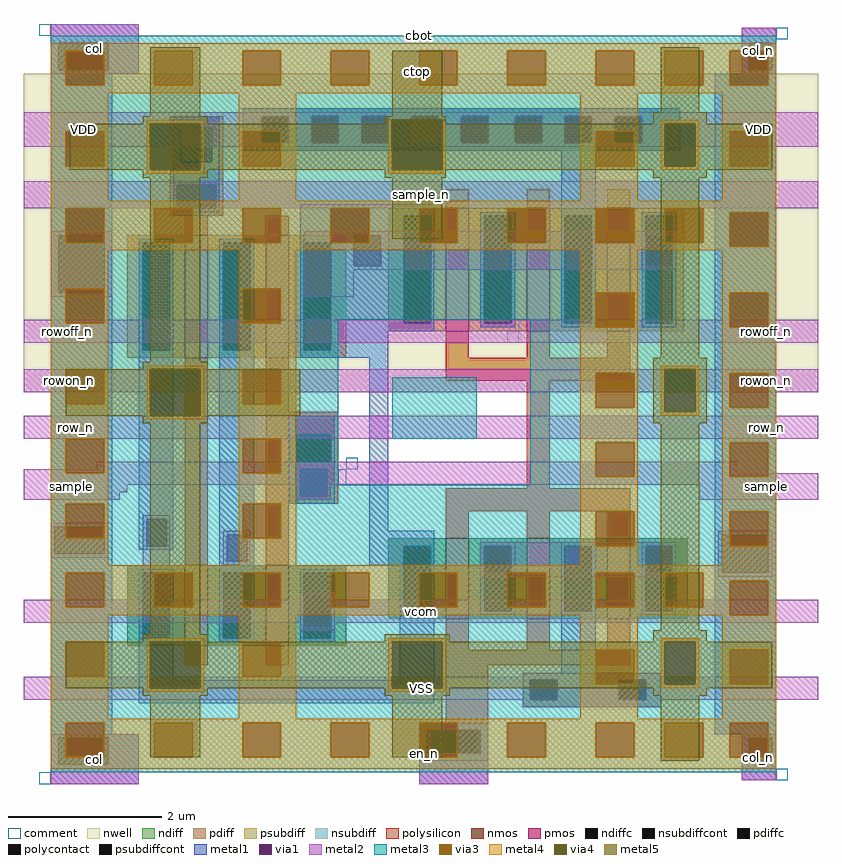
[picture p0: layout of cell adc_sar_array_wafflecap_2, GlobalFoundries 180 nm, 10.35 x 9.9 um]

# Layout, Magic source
magic
tech gf180mcuD
magscale 1 5
<< nwell >>
rect 1500 510 2535 925
<< nmos >>
rect 1710 180 1740 285
rect 1815 180 1845 285
rect 2050 215 2080 320
rect 2155 215 2185 320
rect 2260 215 2290 320
<< pmos >>
rect 1710 555 1740 715
rect 1815 555 1845 715
rect 2050 590 2080 750
rect 2155 590 2185 750
rect 2260 590 2290 750
<< ndiff >>
rect 1975 310 2050 320
rect 1635 275 1710 285
rect 1635 190 1655 275
rect 1690 190 1710 275
rect 1635 180 1710 190
rect 1740 275 1815 285
rect 1740 190 1760 275
rect 1795 190 1815 275
rect 1740 180 1815 190
rect 1845 275 1920 285
rect 1845 190 1865 275
rect 1900 190 1920 275
rect 1975 225 1995 310
rect 2030 225 2050 310
rect 1975 215 2050 225
rect 2080 310 2155 320
rect 2080 225 2100 310
rect 2135 225 2155 310
rect 2080 215 2155 225
rect 2185 310 2260 320
rect 2185 225 2205 310
rect 2240 225 2260 310
rect 2185 215 2260 225
rect 2290 310 2365 320
rect 2290 225 2310 310
rect 2345 225 2365 310
rect 2290 215 2365 225
rect 1845 180 1920 190
<< pdiff >>
rect 1975 740 2050 750
rect 1635 705 1710 715
rect 1635 565 1655 705
rect 1690 565 1710 705
rect 1635 555 1710 565
rect 1740 705 1815 715
rect 1740 565 1760 705
rect 1795 565 1815 705
rect 1740 555 1815 565
rect 1845 705 1920 715
rect 1845 565 1865 705
rect 1900 565 1920 705
rect 1975 600 1995 740
rect 2030 600 2050 740
rect 1975 590 2050 600
rect 2080 740 2155 750
rect 2080 600 2100 740
rect 2135 600 2155 740
rect 2080 590 2155 600
rect 2185 740 2260 750
rect 2185 600 2205 740
rect 2240 600 2260 740
rect 2185 590 2260 600
rect 2290 740 2360 750
rect 2290 600 2310 740
rect 2345 600 2360 740
rect 2290 590 2360 600
rect 1845 555 1920 565
<< ndiffc >>
rect 1655 190 1690 275
rect 1760 190 1795 275
rect 1865 190 1900 275
rect 1995 225 2030 310
rect 2100 225 2135 310
rect 2205 225 2240 310
rect 2310 225 2345 310
<< pdiffc >>
rect 1655 565 1690 705
rect 1760 565 1795 705
rect 1865 565 1900 705
rect 1995 600 2030 740
rect 2100 600 2135 740
rect 2205 600 2240 740
rect 2310 600 2345 740
<< psubdiff >>
rect 2150 135 2330 145
rect 2150 110 2160 135
rect 2195 110 2275 135
rect 2310 110 2330 135
rect 2150 100 2330 110
<< nsubdiff >>
rect 1785 870 2355 880
rect 1785 835 1810 870
rect 1845 835 1875 870
rect 1910 835 1940 870
rect 1975 835 2005 870
rect 2040 835 2070 870
rect 2105 835 2140 870
rect 2175 835 2205 870
rect 2240 835 2270 870
rect 2305 835 2355 870
rect 1785 825 2355 835
<< psubdiffcont >>
rect 2160 110 2195 135
rect 2275 110 2310 135
<< nsubdiffcont >>
rect 1810 835 1845 870
rect 1875 835 1910 870
rect 1940 835 1975 870
rect 2005 835 2040 870
rect 2070 835 2105 870
rect 2140 835 2175 870
rect 2205 835 2240 870
rect 2270 835 2305 870
<< polysilicon >>
rect 1690 855 1760 870
rect 1690 810 1705 855
rect 1745 810 1760 855
rect 1690 740 1760 810
rect 2050 750 2080 775
rect 2155 750 2185 775
rect 2260 750 2290 775
rect 1710 715 1740 740
rect 1815 715 1845 740
rect 2050 555 2080 590
rect 2155 555 2185 590
rect 2260 555 2290 590
rect 1710 285 1740 555
rect 1815 485 1845 555
rect 2050 525 2290 555
rect 1815 455 1910 485
rect 1815 420 1855 455
rect 1900 420 1910 455
rect 1815 365 1910 420
rect 2155 385 2185 525
rect 1815 285 1845 365
rect 2050 355 2290 385
rect 2050 320 2080 355
rect 2155 320 2185 355
rect 2260 320 2290 355
rect 1710 155 1740 180
rect 1815 155 1845 180
rect 2050 175 2080 215
rect 2155 175 2185 215
rect 2260 175 2290 215
rect 2050 155 2290 175
rect 2050 80 2105 155
rect 2015 70 2105 80
rect 2015 40 2025 70
rect 2095 40 2105 70
rect 2015 30 2105 40
<< polycontact >>
rect 1705 810 1745 855
rect 1855 420 1900 455
rect 2025 40 2095 70
<< metal1 >>
rect 1535 965 1650 990
rect 1535 930 1545 965
rect 1610 930 1650 965
rect 1535 925 1650 930
rect 2435 965 2480 985
rect 2435 930 2445 965
rect 2475 930 2480 965
rect 2435 925 2480 930
rect 1535 715 1615 925
rect 1785 870 2355 880
rect 1695 855 1755 870
rect 1695 810 1705 855
rect 1745 810 1755 855
rect 1785 835 1810 870
rect 1845 835 1875 870
rect 1910 835 1940 870
rect 1975 835 2005 870
rect 2040 835 2070 870
rect 2105 835 2140 870
rect 2175 835 2205 870
rect 2240 835 2270 870
rect 2305 835 2355 870
rect 1785 825 2355 835
rect 1695 780 1755 810
rect 1695 750 1700 780
rect 1750 750 1755 780
rect 1695 740 1755 750
rect 1860 740 2035 755
rect 1535 640 1545 715
rect 1605 640 1615 715
rect 1860 715 1995 740
rect 1535 335 1615 640
rect 1535 300 1540 335
rect 1605 300 1615 335
rect 1650 705 1695 710
rect 1650 565 1655 705
rect 1690 565 1695 705
rect 1650 345 1695 565
rect 1650 310 1660 345
rect 1686 310 1695 345
rect 1650 305 1695 310
rect 1755 705 1800 710
rect 1755 565 1760 705
rect 1795 565 1800 705
rect 1755 325 1800 565
rect 1860 705 1930 715
rect 1860 565 1865 705
rect 1900 675 1930 705
rect 1965 675 1995 715
rect 1900 600 1995 675
rect 2030 600 2035 740
rect 1900 590 2035 600
rect 2095 740 2140 745
rect 2095 600 2100 740
rect 2135 600 2140 740
rect 2095 595 2140 600
rect 2200 740 2245 825
rect 2200 600 2205 740
rect 2240 600 2245 740
rect 2200 595 2245 600
rect 2305 740 2350 745
rect 2305 600 2310 740
rect 2345 600 2350 740
rect 2305 595 2350 600
rect 1900 565 1975 590
rect 1860 555 1975 565
rect 1845 455 1905 480
rect 1845 420 1855 455
rect 1900 420 1905 455
rect 1845 410 1905 420
rect 1845 375 1860 410
rect 1895 375 1905 410
rect 1845 365 1905 375
rect 1535 65 1615 300
rect 1755 290 1765 325
rect 1791 290 1800 325
rect 1650 275 1695 280
rect 1650 190 1655 275
rect 1690 190 1695 275
rect 1650 135 1695 190
rect 1755 275 1800 290
rect 1950 330 1975 555
rect 1950 310 2035 330
rect 2400 325 2480 925
rect 1950 285 1995 310
rect 1755 190 1760 275
rect 1795 190 1800 275
rect 1755 185 1800 190
rect 1860 275 1905 280
rect 1860 190 1865 275
rect 1900 190 1905 275
rect 1860 185 1905 190
rect 1990 225 1995 285
rect 2030 225 2035 310
rect 1990 135 2035 225
rect 2095 310 2140 315
rect 2095 225 2100 310
rect 2135 225 2140 310
rect 2095 220 2140 225
rect 2200 310 2245 315
rect 2200 225 2205 310
rect 2240 225 2245 310
rect 2200 145 2245 225
rect 2305 310 2350 315
rect 2305 225 2310 310
rect 2345 225 2350 310
rect 2305 220 2350 225
rect 2400 275 2410 325
rect 2470 275 2480 325
rect 1650 105 2035 135
rect 2150 136 2330 145
rect 2150 110 2160 136
rect 2195 110 2275 136
rect 2310 110 2330 136
rect 2150 100 2330 110
rect 2015 70 2105 80
rect 1535 60 1650 65
rect 1535 25 1545 60
rect 1610 25 1650 60
rect 1535 0 1650 25
rect 2015 40 2025 70
rect 2095 40 2105 70
rect 2400 65 2480 275
rect 2015 0 2105 40
rect 2435 60 2480 65
rect 2435 30 2445 60
rect 2475 30 2480 60
rect 2435 5 2480 30
<< via1 >>
rect 1545 930 1610 965
rect 2445 930 2475 965
rect 1810 835 1845 870
rect 1875 835 1910 870
rect 1940 835 1975 870
rect 2005 835 2040 870
rect 2070 835 2105 870
rect 2140 835 2175 870
rect 2205 835 2240 870
rect 2270 835 2305 870
rect 1700 750 1750 780
rect 1545 640 1605 715
rect 1540 300 1605 335
rect 1660 310 1686 345
rect 1930 675 1965 715
rect 2310 675 2345 715
rect 1860 375 1895 410
rect 1765 290 1791 325
rect 1865 205 1900 245
rect 2100 275 2135 310
rect 2310 275 2345 310
rect 2410 275 2470 325
rect 2160 135 2195 136
rect 2160 110 2195 135
rect 2275 135 2310 136
rect 2275 110 2310 135
rect 1545 25 1610 60
rect 2030 40 2090 70
rect 2445 30 2475 60
<< metal2 >>
rect 1535 965 1650 990
rect 1535 930 1545 965
rect 1610 930 1650 965
rect 1535 925 1650 930
rect 2435 965 2480 985
rect 2435 930 2445 965
rect 2475 930 2480 965
rect 2435 925 2480 930
rect 1500 870 2535 875
rect 1500 835 1810 870
rect 1845 835 1875 870
rect 1910 835 1940 870
rect 1975 835 2005 870
rect 2040 835 2070 870
rect 2105 835 2140 870
rect 2175 835 2205 870
rect 2240 835 2270 870
rect 2305 835 2535 870
rect 1500 830 2535 835
rect 1500 780 2535 785
rect 1500 750 1700 780
rect 1750 750 2535 780
rect 1695 745 1755 750
rect 1535 715 1615 720
rect 1535 640 1545 715
rect 1605 640 1615 715
rect 1535 635 1615 640
rect 1865 715 2350 720
rect 1865 675 1930 715
rect 1965 675 2310 715
rect 2345 675 2350 715
rect 1865 670 2350 675
rect 1865 635 1930 670
rect 1500 575 2535 605
rect 1500 510 2535 540
rect 1500 450 2535 480
rect 1615 410 2400 420
rect 1615 405 1860 410
rect 1500 390 1860 405
rect 1500 370 1625 390
rect 1855 375 1860 390
rect 1895 405 2400 410
rect 1895 390 2535 405
rect 1895 375 1900 390
rect 1855 370 1900 375
rect 2380 370 2535 390
rect 1655 345 1690 350
rect 1535 335 1610 340
rect 1535 300 1540 335
rect 1605 300 1610 335
rect 1535 295 1610 300
rect 1655 310 1660 345
rect 1686 310 1690 345
rect 1655 240 1690 310
rect 1760 325 1795 330
rect 1760 290 1765 325
rect 1791 290 1795 325
rect 2405 325 2475 330
rect 1760 285 1795 290
rect 2095 310 2350 315
rect 2095 275 2100 310
rect 2135 275 2310 310
rect 2345 275 2350 310
rect 2095 270 2350 275
rect 2405 275 2410 325
rect 2470 275 2475 325
rect 2405 270 2475 275
rect 1860 245 1905 250
rect 1860 240 1865 245
rect 1500 210 1865 240
rect 1860 205 1865 210
rect 1900 240 1905 245
rect 1900 210 2535 240
rect 1900 205 1905 210
rect 1860 200 1905 205
rect 2150 140 2330 145
rect 1500 136 2535 140
rect 1500 110 2160 136
rect 2195 110 2275 136
rect 2310 110 2535 136
rect 2150 100 2330 110
rect 2015 70 2105 80
rect 1535 60 1650 65
rect 1535 25 1545 60
rect 1610 25 1650 60
rect 1535 0 1650 25
rect 2015 40 2030 70
rect 2090 40 2105 70
rect 2015 0 2105 40
rect 2435 60 2480 65
rect 2435 30 2445 60
rect 2475 30 2480 60
rect 2435 5 2480 30
<< metal3 >>
rect 1535 955 2480 975
rect 1535 910 1555 955
rect 1605 910 1670 955
rect 1720 910 1785 955
rect 1835 910 1900 955
rect 1950 910 2015 955
rect 2065 910 2130 955
rect 2180 910 2245 955
rect 2295 910 2335 955
rect 2385 910 2420 955
rect 2470 910 2480 955
rect 1535 850 2480 910
rect 1535 805 1555 850
rect 1605 805 1785 850
rect 1835 805 2245 850
rect 2295 805 2420 850
rect 2470 805 2480 850
rect 1535 750 2480 805
rect 1535 705 1555 750
rect 1605 705 1670 750
rect 1720 705 1785 750
rect 1835 705 1900 750
rect 1950 705 2015 750
rect 2065 705 2130 750
rect 2180 705 2245 750
rect 2295 705 2335 750
rect 2385 745 2480 750
rect 2385 705 2420 745
rect 1535 700 2420 705
rect 2470 700 2480 745
rect 1535 645 2480 700
rect 1535 600 1555 645
rect 1605 600 1785 645
rect 1835 640 2480 645
rect 1835 605 2245 640
rect 1835 600 1910 605
rect 1535 540 1910 600
rect 1535 495 1555 540
rect 1605 495 1785 540
rect 1835 495 1910 540
rect 2160 595 2245 605
rect 2295 595 2420 640
rect 2470 595 2480 640
rect 2160 535 2480 595
rect 1535 450 1910 495
rect 1980 450 2090 530
rect 2160 490 2245 535
rect 2295 490 2420 535
rect 2470 490 2480 535
rect 1535 405 1555 450
rect 1605 405 1785 450
rect 1835 405 1910 450
rect 1535 390 1910 405
rect 2160 445 2480 490
rect 2160 400 2245 445
rect 2295 400 2420 445
rect 2470 400 2480 445
rect 2160 390 2480 400
rect 1535 365 2480 390
rect 1535 320 1555 365
rect 1605 320 1785 365
rect 1835 355 2480 365
rect 1835 320 2245 355
rect 1535 310 2245 320
rect 2295 310 2420 355
rect 2470 310 2480 355
rect 1535 275 2480 310
rect 1535 230 1555 275
rect 1605 230 1670 275
rect 1720 230 1785 275
rect 1835 230 1900 275
rect 1950 230 2015 275
rect 2065 230 2130 275
rect 2180 230 2245 275
rect 2295 230 2335 275
rect 2385 265 2480 275
rect 2385 230 2420 265
rect 1535 220 2420 230
rect 2470 220 2480 265
rect 1535 185 2480 220
rect 1535 140 1555 185
rect 1605 140 1785 185
rect 1835 175 2480 185
rect 1835 140 2245 175
rect 1535 130 2245 140
rect 2295 130 2420 175
rect 2470 130 2480 175
rect 1535 80 2480 130
rect 1535 35 1555 80
rect 1605 35 1670 80
rect 1720 35 1785 80
rect 1835 35 1900 80
rect 1950 35 2015 80
rect 2065 35 2130 80
rect 2180 35 2245 80
rect 2295 35 2335 80
rect 2385 35 2420 80
rect 2470 35 2480 80
rect 1535 15 2480 35
<< via3 >>
rect 1555 910 1605 955
rect 1670 910 1720 955
rect 1785 910 1835 955
rect 1900 910 1950 955
rect 2015 910 2065 955
rect 2130 910 2180 955
rect 2245 910 2295 955
rect 2335 910 2385 955
rect 2420 910 2470 955
rect 1555 805 1605 850
rect 1785 805 1835 850
rect 2245 805 2295 850
rect 2420 805 2470 850
rect 1555 705 1605 750
rect 1670 705 1720 750
rect 1785 705 1835 750
rect 1900 705 1950 750
rect 2015 705 2065 750
rect 2130 705 2180 750
rect 2245 705 2295 750
rect 2335 705 2385 750
rect 2420 700 2470 745
rect 1555 600 1605 645
rect 1785 600 1835 645
rect 1555 495 1605 540
rect 1785 495 1835 540
rect 2245 595 2295 640
rect 2420 595 2470 640
rect 2245 490 2295 535
rect 2420 490 2470 535
rect 1555 405 1605 450
rect 1785 405 1835 450
rect 2245 400 2295 445
rect 2420 400 2470 445
rect 1555 320 1605 365
rect 1785 320 1835 365
rect 2245 310 2295 355
rect 2420 310 2470 355
rect 1555 230 1605 275
rect 1670 230 1720 275
rect 1785 230 1835 275
rect 1900 230 1950 275
rect 2015 230 2065 275
rect 2130 230 2180 275
rect 2245 230 2295 275
rect 2335 230 2385 275
rect 2420 220 2470 265
rect 1555 140 1605 185
rect 1785 140 1835 185
rect 2245 130 2295 175
rect 2420 130 2470 175
rect 1555 35 1605 80
rect 1670 35 1720 80
rect 1785 35 1835 80
rect 1900 35 1950 80
rect 2015 35 2065 80
rect 2130 35 2180 80
rect 2245 35 2295 80
rect 2335 35 2385 80
rect 2420 35 2470 80
<< metal4 >>
rect 1535 955 2480 965
rect 1535 910 1555 955
rect 1605 910 1670 955
rect 1720 910 1785 955
rect 1835 910 1900 955
rect 1950 910 2015 955
rect 2065 910 2130 955
rect 2180 910 2245 955
rect 2295 910 2335 955
rect 2385 910 2420 955
rect 2470 910 2480 955
rect 1535 900 2480 910
rect 1535 850 1610 900
rect 1535 805 1555 850
rect 1605 805 1610 850
rect 1535 760 1610 805
rect 1660 860 1735 865
rect 1660 800 1665 860
rect 1730 800 1735 860
rect 1660 795 1735 800
rect 1780 850 1855 900
rect 1780 805 1785 850
rect 1835 805 1855 850
rect 1780 760 1855 805
rect 1975 800 1980 865
rect 2045 800 2050 865
rect 1975 795 2050 800
rect 2225 850 2300 900
rect 2225 805 2245 850
rect 2295 805 2300 850
rect 2225 760 2300 805
rect 2330 860 2380 865
rect 2330 805 2335 860
rect 2375 805 2380 860
rect 2330 800 2380 805
rect 2410 850 2480 900
rect 2410 805 2420 850
rect 2470 805 2480 850
rect 2410 760 2480 805
rect 1535 750 2480 760
rect 1535 705 1555 750
rect 1605 705 1670 750
rect 1720 705 1785 750
rect 1835 705 1900 750
rect 1950 705 2015 750
rect 2065 705 2130 750
rect 2180 705 2245 750
rect 2295 705 2335 750
rect 2385 745 2480 750
rect 2385 705 2420 745
rect 1535 700 2420 705
rect 2470 700 2480 745
rect 1535 695 2480 700
rect 1535 645 1610 695
rect 1535 600 1555 645
rect 1605 600 1610 645
rect 1535 540 1610 600
rect 1780 645 1855 695
rect 1780 600 1785 645
rect 1835 600 1855 645
rect 1535 495 1555 540
rect 1605 495 1610 540
rect 1535 450 1610 495
rect 1660 540 1735 545
rect 1660 480 1665 540
rect 1730 480 1735 540
rect 1660 475 1735 480
rect 1780 540 1855 600
rect 1780 495 1785 540
rect 1835 495 1855 540
rect 1535 405 1555 450
rect 1605 405 1610 450
rect 1535 365 1610 405
rect 1535 320 1555 365
rect 1605 320 1610 365
rect 1535 285 1610 320
rect 1780 450 1855 495
rect 1780 405 1785 450
rect 1835 405 1855 450
rect 1780 365 1855 405
rect 1780 320 1785 365
rect 1835 320 1855 365
rect 1780 285 1855 320
rect 2225 640 2300 695
rect 2225 595 2245 640
rect 2295 595 2300 640
rect 2225 535 2300 595
rect 2410 640 2480 695
rect 2410 595 2420 640
rect 2470 595 2480 640
rect 2225 490 2245 535
rect 2295 490 2300 535
rect 2225 445 2300 490
rect 2330 540 2380 545
rect 2330 485 2335 540
rect 2375 485 2380 540
rect 2330 480 2380 485
rect 2410 535 2480 595
rect 2410 490 2420 535
rect 2470 490 2480 535
rect 2225 400 2245 445
rect 2295 400 2300 445
rect 2225 355 2300 400
rect 2225 310 2245 355
rect 2295 310 2300 355
rect 2225 285 2300 310
rect 2410 445 2480 490
rect 2410 400 2420 445
rect 2470 400 2480 445
rect 2410 355 2480 400
rect 2410 310 2420 355
rect 2470 310 2480 355
rect 2410 285 2480 310
rect 1535 275 2480 285
rect 1535 230 1555 275
rect 1605 230 1670 275
rect 1720 230 1785 275
rect 1835 230 1900 275
rect 1950 230 2015 275
rect 2065 230 2130 275
rect 2180 230 2245 275
rect 2295 230 2335 275
rect 2385 265 2480 275
rect 2385 230 2420 265
rect 1535 220 2420 230
rect 2470 220 2480 265
rect 1535 185 1610 220
rect 1535 140 1555 185
rect 1605 140 1610 185
rect 1535 85 1610 140
rect 1660 185 1735 190
rect 1660 125 1665 185
rect 1730 125 1735 185
rect 1660 120 1735 125
rect 1780 185 1855 220
rect 1780 140 1785 185
rect 1835 140 1855 185
rect 1780 85 1855 140
rect 1975 185 2050 190
rect 1975 125 1980 185
rect 2045 125 2050 185
rect 1975 120 2050 125
rect 2225 175 2300 220
rect 2225 130 2245 175
rect 2295 130 2300 175
rect 2225 85 2300 130
rect 2330 185 2380 190
rect 2330 130 2335 185
rect 2375 130 2380 185
rect 2330 125 2380 130
rect 2410 175 2480 220
rect 2410 130 2420 175
rect 2470 130 2480 175
rect 2410 85 2480 130
rect 1535 80 2480 85
rect 1535 35 1555 80
rect 1605 35 1670 80
rect 1720 35 1785 80
rect 1835 35 1900 80
rect 1950 35 2015 80
rect 2065 35 2130 80
rect 2180 35 2245 80
rect 2295 35 2335 80
rect 2385 35 2420 80
rect 2470 35 2480 80
rect 1535 20 2480 35
<< via4 >>
rect 1665 800 1730 860
rect 1980 800 2045 865
rect 2335 805 2375 860
rect 1665 480 1730 540
rect 2335 485 2375 540
rect 1665 125 1730 185
rect 1980 125 2045 185
rect 2335 130 2375 185
<< metal5 >>
rect 1665 870 1730 960
rect 1980 870 2045 955
rect 2330 875 2380 960
rect 1655 860 1740 870
rect 1970 865 2050 870
rect 1970 860 1980 865
rect 1560 800 1665 860
rect 1730 800 1760 860
rect 1855 800 1980 860
rect 2045 860 2050 865
rect 2320 860 2390 875
rect 2045 805 2335 860
rect 2375 805 2475 860
rect 2045 800 2475 805
rect 1655 790 1740 800
rect 1970 790 2050 800
rect 2320 790 2390 800
rect 1665 550 1730 790
rect 1980 710 2045 790
rect 2330 710 2380 790
rect 2330 555 2380 580
rect 1655 540 1740 550
rect 2320 540 2390 555
rect 1555 480 1665 540
rect 1730 480 1860 540
rect 2320 485 2335 540
rect 2375 485 2390 540
rect 1655 470 1740 480
rect 2320 470 2390 485
rect 1665 195 1730 470
rect 2330 200 2380 470
rect 1655 185 1740 195
rect 1970 185 2055 195
rect 2320 185 2390 200
rect 1555 125 1665 185
rect 1730 125 1980 185
rect 2045 130 2335 185
rect 2375 130 2475 185
rect 2045 125 2475 130
rect 1655 115 1740 125
rect 1970 115 2055 125
rect 2320 115 2390 125
rect 1665 35 1730 115
rect 1980 35 2045 115
rect 2330 30 2380 115
<< comment >>
rect 1520 975 1535 990
rect 2480 970 2495 985
rect 2145 590 2160 605
rect 2130 575 2145 590
rect 1920 410 1935 425
rect 1910 390 1920 410
rect 1520 0 1535 15
rect 2480 5 2495 20
use adc_sar_array_wafflecap_4  adc_sar_array_wafflecap_4_1
transform 1 0 2685 0 1 80
box -1185 -80 -150 910
<< labels >>
flabel metal2 1500 830 1655 875 0 FreeSans 160 0 0 0 VDD
port 1 nsew
flabel metal2 2380 830 2535 875 0 FreeSans 160 0 0 0 VDD
port 2 nsew
flabel metal2 1500 110 2535 140 0 FreeSans 160 0 0 0 VSS
port 3 nsew
flabel metal2 1500 750 2535 785 0 FreeSans 160 0 0 0 sample_n
port 4 nsew
flabel metal2 1500 575 1615 605 0 FreeSans 160 0 0 0 rowoff_n
port 5 nsew
flabel metal2 1500 510 1620 540 0 FreeSans 160 0 0 0 rowon_n
port 7 nsew
flabel metal2 1500 450 1635 480 0 FreeSans 160 0 0 0 row_n
port 9 nsew
flabel metal2 1500 210 2535 240 0 FreeSans 160 0 0 0 vcom
port 13 nsew
flabel metal1 2015 0 2030 80 0 FreeSans 160 0 0 0 en_n
port 14 nsew
flabel metal1 2435 5 2480 65 0 FreeSans 160 0 0 0 col_n
port 15 nsew
flabel metal1 2435 925 2480 985 0 FreeSans 160 0 0 0 col_n
port 16 nsew
flabel metal2 1535 925 1650 990 0 FreeSans 160 0 0 0 col
port 17 nsew
flabel metal2 1535 0 1650 65 0 FreeSans 160 0 0 0 col
port 18 nsew
flabel metal2 2400 450 2535 480 0 FreeSans 160 0 0 0 row_n
port 10 nsew
flabel metal2 2400 510 2535 540 0 FreeSans 160 0 0 0 rowon_n
port 8 nsew
flabel metal2 2400 575 2535 605 0 FreeSans 160 0 0 0 rowoff_n
port 6 nsew
flabel metal5 1980 900 2045 955 0 FreeSans 160 0 0 0 ctop
port 21 nsew
flabel metal2 1500 370 1625 405 0 FreeSans 160 0 0 0 sample
port 19 nsew
flabel metal2 2400 370 2535 405 0 FreeSans 160 0 0 0 sample
port 20 nsew
flabel metal3 2015 975 2015 975 0 FreeSans 80 0 0 0 cbot
port 22 nsew
<< end >>

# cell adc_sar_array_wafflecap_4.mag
magic
tech gf180mcuD
magscale 1 5
<< nwell >>
rect -1185 430 -150 845
<< nmos >>
rect -975 100 -945 205
rect -870 100 -840 205
rect -635 135 -605 240
rect -530 135 -500 240
rect -425 135 -395 240
<< pmos >>
rect -975 475 -945 635
rect -870 475 -840 635
rect -635 510 -605 670
rect -530 510 -500 670
rect -425 510 -395 670
<< ndiff >>
rect -710 230 -635 240
rect -1050 195 -975 205
rect -1050 110 -1030 195
rect -995 110 -975 195
rect -1050 100 -975 110
rect -945 195 -870 205
rect -945 110 -925 195
rect -890 110 -870 195
rect -945 100 -870 110
rect -840 195 -765 205
rect -840 110 -820 195
rect -785 110 -765 195
rect -710 145 -690 230
rect -655 145 -635 230
rect -710 135 -635 145
rect -605 230 -530 240
rect -605 145 -585 230
rect -550 145 -530 230
rect -605 135 -530 145
rect -500 230 -425 240
rect -500 145 -480 230
rect -445 145 -425 230
rect -500 135 -425 145
rect -395 230 -320 240
rect -395 145 -375 230
rect -340 145 -320 230
rect -395 135 -320 145
rect -840 100 -765 110
<< pdiff >>
rect -710 660 -635 670
rect -1050 625 -975 635
rect -1050 485 -1030 625
rect -995 485 -975 625
rect -1050 475 -975 485
rect -945 625 -870 635
rect -945 485 -925 625
rect -890 485 -870 625
rect -945 475 -870 485
rect -840 625 -765 635
rect -840 485 -820 625
rect -785 485 -765 625
rect -710 520 -690 660
rect -655 520 -635 660
rect -710 510 -635 520
rect -605 660 -530 670
rect -605 520 -585 660
rect -550 520 -530 660
rect -605 510 -530 520
rect -500 660 -425 670
rect -500 520 -480 660
rect -445 520 -425 660
rect -500 510 -425 520
rect -395 660 -325 670
rect -395 520 -375 660
rect -340 520 -325 660
rect -395 510 -325 520
rect -840 475 -765 485
<< ndiffc >>
rect -1030 110 -995 195
rect -925 110 -890 195
rect -820 110 -785 195
rect -690 145 -655 230
rect -585 145 -550 230
rect -480 145 -445 230
rect -375 145 -340 230
<< pdiffc >>
rect -1030 485 -995 625
rect -925 485 -890 625
rect -820 485 -785 625
rect -690 520 -655 660
rect -585 520 -550 660
rect -480 520 -445 660
rect -375 520 -340 660
<< psubdiff >>
rect -535 55 -355 65
rect -535 30 -525 55
rect -490 30 -410 55
rect -375 30 -355 55
rect -535 20 -355 30
<< nsubdiff >>
rect -900 790 -330 800
rect -900 755 -875 790
rect -840 755 -810 790
rect -775 755 -745 790
rect -710 755 -680 790
rect -645 755 -615 790
rect -580 755 -545 790
rect -510 755 -480 790
rect -445 755 -415 790
rect -380 755 -330 790
rect -900 745 -330 755
<< psubdiffcont >>
rect -525 30 -490 55
rect -410 30 -375 55
<< nsubdiffcont >>
rect -875 755 -840 790
rect -810 755 -775 790
rect -745 755 -710 790
rect -680 755 -645 790
rect -615 755 -580 790
rect -545 755 -510 790
rect -480 755 -445 790
rect -415 755 -380 790
<< polysilicon >>
rect -995 775 -925 790
rect -995 730 -980 775
rect -940 730 -925 775
rect -995 660 -925 730
rect -635 670 -605 695
rect -530 670 -500 695
rect -425 670 -395 695
rect -975 635 -945 660
rect -870 635 -840 660
rect -635 475 -605 510
rect -530 475 -500 510
rect -425 475 -395 510
rect -975 205 -945 475
rect -870 405 -840 475
rect -635 445 -395 475
rect -870 375 -775 405
rect -870 340 -830 375
rect -785 340 -775 375
rect -870 285 -775 340
rect -530 305 -500 445
rect -870 205 -840 285
rect -635 275 -395 305
rect -635 240 -605 275
rect -530 240 -500 275
rect -425 240 -395 275
rect -975 75 -945 100
rect -870 75 -840 100
rect -635 95 -605 135
rect -530 95 -500 135
rect -425 95 -395 135
rect -635 75 -395 95
rect -635 0 -580 75
rect -670 -10 -580 0
rect -670 -40 -660 -10
rect -590 -40 -580 -10
rect -670 -50 -580 -40
<< polycontact >>
rect -980 730 -940 775
rect -830 340 -785 375
rect -660 -40 -590 -10
<< metal1 >>
rect -1150 885 -1035 910
rect -1150 850 -1140 885
rect -1075 850 -1035 885
rect -1150 845 -1035 850
rect -250 885 -205 905
rect -250 850 -240 885
rect -210 850 -205 885
rect -250 845 -205 850
rect -1150 635 -1070 845
rect -900 790 -330 800
rect -990 775 -930 790
rect -990 730 -980 775
rect -940 730 -930 775
rect -900 755 -875 790
rect -840 755 -810 790
rect -775 755 -745 790
rect -710 755 -680 790
rect -645 755 -615 790
rect -580 755 -545 790
rect -510 755 -480 790
rect -445 755 -415 790
rect -380 755 -330 790
rect -900 745 -330 755
rect -990 700 -930 730
rect -990 670 -985 700
rect -935 670 -930 700
rect -990 660 -930 670
rect -825 660 -650 675
rect -1150 560 -1140 635
rect -1080 560 -1070 635
rect -825 635 -690 660
rect -1150 255 -1070 560
rect -1150 220 -1145 255
rect -1080 220 -1070 255
rect -1035 625 -990 630
rect -1035 485 -1030 625
rect -995 485 -990 625
rect -1035 265 -990 485
rect -1035 230 -1025 265
rect -999 230 -990 265
rect -1035 225 -990 230
rect -930 625 -885 630
rect -930 485 -925 625
rect -890 485 -885 625
rect -930 245 -885 485
rect -825 625 -755 635
rect -825 485 -820 625
rect -785 595 -755 625
rect -720 595 -690 635
rect -785 520 -690 595
rect -655 520 -650 660
rect -785 510 -650 520
rect -590 660 -545 665
rect -590 520 -585 660
rect -550 520 -545 660
rect -590 515 -545 520
rect -485 660 -440 745
rect -485 520 -480 660
rect -445 520 -440 660
rect -485 515 -440 520
rect -380 660 -335 665
rect -380 520 -375 660
rect -340 520 -335 660
rect -380 515 -335 520
rect -785 485 -710 510
rect -825 475 -710 485
rect -840 375 -780 400
rect -840 340 -830 375
rect -785 340 -780 375
rect -840 330 -780 340
rect -840 295 -825 330
rect -790 295 -780 330
rect -840 285 -780 295
rect -1150 -15 -1070 220
rect -930 210 -920 245
rect -894 210 -885 245
rect -1035 195 -990 200
rect -1035 110 -1030 195
rect -995 110 -990 195
rect -1035 55 -990 110
rect -930 195 -885 210
rect -735 250 -710 475
rect -735 230 -650 250
rect -285 245 -205 845
rect -735 205 -690 230
rect -930 110 -925 195
rect -890 110 -885 195
rect -930 105 -885 110
rect -825 195 -780 200
rect -825 110 -820 195
rect -785 110 -780 195
rect -825 105 -780 110
rect -695 145 -690 205
rect -655 145 -650 230
rect -695 55 -650 145
rect -590 230 -545 235
rect -590 145 -585 230
rect -550 145 -545 230
rect -590 140 -545 145
rect -485 230 -440 235
rect -485 145 -480 230
rect -445 145 -440 230
rect -485 65 -440 145
rect -380 230 -335 235
rect -380 145 -375 230
rect -340 145 -335 230
rect -380 140 -335 145
rect -285 195 -275 245
rect -215 195 -205 245
rect -1035 25 -650 55
rect -535 56 -355 65
rect -535 30 -525 56
rect -490 30 -410 56
rect -375 30 -355 56
rect -535 20 -355 30
rect -670 -10 -580 0
rect -1150 -20 -1035 -15
rect -1150 -55 -1140 -20
rect -1075 -55 -1035 -20
rect -1150 -80 -1035 -55
rect -670 -40 -660 -10
rect -590 -40 -580 -10
rect -285 -15 -205 195
rect -670 -80 -580 -40
rect -250 -20 -205 -15
rect -250 -50 -240 -20
rect -210 -50 -205 -20
rect -250 -75 -205 -50
<< via1 >>
rect -1140 850 -1075 885
rect -240 850 -210 885
rect -875 755 -840 790
rect -810 755 -775 790
rect -745 755 -710 790
rect -680 755 -645 790
rect -615 755 -580 790
rect -545 755 -510 790
rect -480 755 -445 790
rect -415 755 -380 790
rect -985 670 -935 700
rect -1140 560 -1080 635
rect -1145 220 -1080 255
rect -1025 230 -999 265
rect -755 595 -720 635
rect -375 595 -340 635
rect -825 295 -790 330
rect -920 210 -894 245
rect -820 125 -785 165
rect -585 195 -550 230
rect -375 195 -340 230
rect -275 195 -215 245
rect -525 55 -490 56
rect -525 30 -490 55
rect -410 55 -375 56
rect -410 30 -375 55
rect -1140 -55 -1075 -20
rect -655 -40 -595 -10
rect -240 -50 -210 -20
<< metal2 >>
rect -1150 885 -1035 910
rect -1150 850 -1140 885
rect -1075 850 -1035 885
rect -1150 845 -1035 850
rect -250 885 -205 905
rect -250 850 -240 885
rect -210 850 -205 885
rect -250 845 -205 850
rect -1185 790 -150 795
rect -1185 755 -875 790
rect -840 755 -810 790
rect -775 755 -745 790
rect -710 755 -680 790
rect -645 755 -615 790
rect -580 755 -545 790
rect -510 755 -480 790
rect -445 755 -415 790
rect -380 755 -150 790
rect -1185 750 -150 755
rect -1185 700 -150 705
rect -1185 670 -985 700
rect -935 670 -150 700
rect -990 665 -930 670
rect -1150 635 -1070 640
rect -1150 560 -1140 635
rect -1080 560 -1070 635
rect -1150 555 -1070 560
rect -820 635 -335 640
rect -820 595 -755 635
rect -720 595 -375 635
rect -340 595 -335 635
rect -820 590 -335 595
rect -820 555 -755 590
rect -1185 495 -150 525
rect -1185 430 -150 460
rect -1185 370 -150 400
rect -1090 330 -255 340
rect -1185 310 -825 330
rect -1185 300 -1050 310
rect -830 295 -825 310
rect -790 325 -255 330
rect -790 310 -150 325
rect -790 295 -785 310
rect -285 295 -150 310
rect -830 290 -785 295
rect -1030 265 -995 270
rect -1150 255 -1075 260
rect -1150 220 -1145 255
rect -1080 220 -1075 255
rect -1150 215 -1075 220
rect -1030 230 -1025 265
rect -999 230 -995 265
rect -1030 160 -995 230
rect -925 245 -890 250
rect -925 210 -920 245
rect -894 210 -890 245
rect -280 245 -210 250
rect -925 205 -890 210
rect -590 230 -335 235
rect -590 195 -585 230
rect -550 195 -375 230
rect -340 195 -335 230
rect -590 190 -335 195
rect -280 195 -275 245
rect -215 195 -210 245
rect -280 190 -210 195
rect -825 165 -780 170
rect -825 160 -820 165
rect -1185 130 -820 160
rect -825 125 -820 130
rect -785 160 -780 165
rect -785 130 -150 160
rect -785 125 -780 130
rect -825 120 -780 125
rect -535 60 -355 65
rect -1185 56 -150 60
rect -1185 30 -525 56
rect -490 30 -410 56
rect -375 30 -150 56
rect -535 20 -355 30
rect -670 -10 -580 0
rect -1150 -20 -1035 -15
rect -1150 -55 -1140 -20
rect -1075 -55 -1035 -20
rect -1150 -80 -1035 -55
rect -670 -40 -655 -10
rect -595 -40 -580 -10
rect -670 -80 -580 -40
rect -250 -20 -205 -15
rect -250 -50 -240 -20
rect -210 -50 -205 -20
rect -250 -75 -205 -50
<< metal3 >>
rect -1150 875 -205 895
rect -1150 830 -1130 875
rect -1080 830 -1015 875
rect -965 830 -900 875
rect -850 830 -785 875
rect -735 830 -670 875
rect -620 830 -555 875
rect -505 830 -440 875
rect -390 830 -350 875
rect -300 830 -265 875
rect -215 830 -205 875
rect -1150 770 -205 830
rect -1150 725 -1130 770
rect -1080 725 -900 770
rect -850 725 -440 770
rect -390 725 -265 770
rect -215 725 -205 770
rect -1150 670 -205 725
rect -1150 625 -1130 670
rect -1080 625 -1015 670
rect -965 625 -900 670
rect -850 625 -785 670
rect -735 625 -670 670
rect -620 625 -555 670
rect -505 625 -440 670
rect -390 625 -350 670
rect -300 665 -205 670
rect -300 625 -265 665
rect -1150 620 -265 625
rect -215 620 -205 665
rect -1150 565 -205 620
rect -1150 520 -1130 565
rect -1080 520 -900 565
rect -850 560 -205 565
rect -850 525 -440 560
rect -850 520 -775 525
rect -1150 460 -775 520
rect -1150 415 -1130 460
rect -1080 415 -900 460
rect -850 415 -775 460
rect -525 515 -440 525
rect -390 515 -265 560
rect -215 515 -205 560
rect -525 455 -205 515
rect -1150 370 -775 415
rect -705 370 -595 450
rect -525 410 -440 455
rect -390 410 -265 455
rect -215 410 -205 455
rect -1150 325 -1130 370
rect -1080 325 -900 370
rect -850 325 -775 370
rect -1150 310 -775 325
rect -525 365 -205 410
rect -525 320 -440 365
rect -390 320 -265 365
rect -215 320 -205 365
rect -525 310 -205 320
rect -1150 285 -205 310
rect -1150 240 -1130 285
rect -1080 240 -900 285
rect -850 275 -205 285
rect -850 240 -440 275
rect -1150 230 -440 240
rect -390 230 -265 275
rect -215 230 -205 275
rect -1150 195 -205 230
rect -1150 150 -1130 195
rect -1080 150 -1015 195
rect -965 150 -900 195
rect -850 150 -785 195
rect -735 150 -670 195
rect -620 150 -555 195
rect -505 150 -440 195
rect -390 150 -350 195
rect -300 185 -205 195
rect -300 150 -265 185
rect -1150 140 -265 150
rect -215 140 -205 185
rect -1150 105 -205 140
rect -1150 60 -1130 105
rect -1080 60 -900 105
rect -850 95 -205 105
rect -850 60 -440 95
rect -1150 50 -440 60
rect -390 50 -265 95
rect -215 50 -205 95
rect -1150 0 -205 50
rect -1150 -45 -1130 0
rect -1080 -45 -1015 0
rect -965 -45 -900 0
rect -850 -45 -785 0
rect -735 -45 -670 0
rect -620 -45 -555 0
rect -505 -45 -440 0
rect -390 -45 -350 0
rect -300 -45 -265 0
rect -215 -45 -205 0
rect -1150 -65 -205 -45
<< via3 >>
rect -1130 830 -1080 875
rect -1015 830 -965 875
rect -900 830 -850 875
rect -785 830 -735 875
rect -670 830 -620 875
rect -555 830 -505 875
rect -440 830 -390 875
rect -350 830 -300 875
rect -265 830 -215 875
rect -1130 725 -1080 770
rect -900 725 -850 770
rect -440 725 -390 770
rect -265 725 -215 770
rect -1130 625 -1080 670
rect -1015 625 -965 670
rect -900 625 -850 670
rect -785 625 -735 670
rect -670 625 -620 670
rect -555 625 -505 670
rect -440 625 -390 670
rect -350 625 -300 670
rect -265 620 -215 665
rect -1130 520 -1080 565
rect -900 520 -850 565
rect -1130 415 -1080 460
rect -900 415 -850 460
rect -440 515 -390 560
rect -265 515 -215 560
rect -440 410 -390 455
rect -265 410 -215 455
rect -1130 325 -1080 370
rect -900 325 -850 370
rect -440 320 -390 365
rect -265 320 -215 365
rect -1130 240 -1080 285
rect -900 240 -850 285
rect -440 230 -390 275
rect -265 230 -215 275
rect -1130 150 -1080 195
rect -1015 150 -965 195
rect -900 150 -850 195
rect -785 150 -735 195
rect -670 150 -620 195
rect -555 150 -505 195
rect -440 150 -390 195
rect -350 150 -300 195
rect -265 140 -215 185
rect -1130 60 -1080 105
rect -900 60 -850 105
rect -440 50 -390 95
rect -265 50 -215 95
rect -1130 -45 -1080 0
rect -1015 -45 -965 0
rect -900 -45 -850 0
rect -785 -45 -735 0
rect -670 -45 -620 0
rect -555 -45 -505 0
rect -440 -45 -390 0
rect -350 -45 -300 0
rect -265 -45 -215 0
<< metal4 >>
rect -1150 875 -205 885
rect -1150 830 -1130 875
rect -1080 830 -1015 875
rect -965 830 -900 875
rect -850 830 -785 875
rect -735 830 -670 875
rect -620 830 -555 875
rect -505 830 -440 875
rect -390 830 -350 875
rect -300 830 -265 875
rect -215 830 -205 875
rect -1150 820 -205 830
rect -1150 770 -1075 820
rect -1150 725 -1130 770
rect -1080 725 -1075 770
rect -1150 680 -1075 725
rect -1025 780 -950 785
rect -1025 720 -1020 780
rect -955 720 -950 780
rect -1025 715 -950 720
rect -905 770 -830 820
rect -905 725 -900 770
rect -850 725 -830 770
rect -905 680 -830 725
rect -710 720 -705 785
rect -640 720 -635 785
rect -710 715 -635 720
rect -460 770 -385 820
rect -460 725 -440 770
rect -390 725 -385 770
rect -460 680 -385 725
rect -355 780 -305 785
rect -355 725 -350 780
rect -310 725 -305 780
rect -355 720 -305 725
rect -275 770 -205 820
rect -275 725 -265 770
rect -215 725 -205 770
rect -275 680 -205 725
rect -1150 670 -205 680
rect -1150 625 -1130 670
rect -1080 625 -1015 670
rect -965 625 -900 670
rect -850 625 -785 670
rect -735 625 -670 670
rect -620 625 -555 670
rect -505 625 -440 670
rect -390 625 -350 670
rect -300 665 -205 670
rect -300 625 -265 665
rect -1150 620 -265 625
rect -215 620 -205 665
rect -1150 615 -205 620
rect -1150 565 -1075 615
rect -1150 520 -1130 565
rect -1080 520 -1075 565
rect -1150 460 -1075 520
rect -905 565 -830 615
rect -905 520 -900 565
rect -850 520 -830 565
rect -1150 415 -1130 460
rect -1080 415 -1075 460
rect -1150 370 -1075 415
rect -1025 460 -950 465
rect -1025 400 -1020 460
rect -955 400 -950 460
rect -1025 395 -950 400
rect -905 460 -830 520
rect -905 415 -900 460
rect -850 415 -830 460
rect -1150 325 -1130 370
rect -1080 325 -1075 370
rect -1150 285 -1075 325
rect -1150 240 -1130 285
rect -1080 240 -1075 285
rect -1150 205 -1075 240
rect -905 370 -830 415
rect -905 325 -900 370
rect -850 325 -830 370
rect -905 285 -830 325
rect -905 240 -900 285
rect -850 240 -830 285
rect -905 205 -830 240
rect -460 560 -385 615
rect -460 515 -440 560
rect -390 515 -385 560
rect -460 455 -385 515
rect -275 560 -205 615
rect -275 515 -265 560
rect -215 515 -205 560
rect -460 410 -440 455
rect -390 410 -385 455
rect -460 365 -385 410
rect -355 460 -305 465
rect -355 405 -350 460
rect -310 405 -305 460
rect -355 400 -305 405
rect -275 455 -205 515
rect -275 410 -265 455
rect -215 410 -205 455
rect -460 320 -440 365
rect -390 320 -385 365
rect -460 275 -385 320
rect -460 230 -440 275
rect -390 230 -385 275
rect -460 205 -385 230
rect -275 365 -205 410
rect -275 320 -265 365
rect -215 320 -205 365
rect -275 275 -205 320
rect -275 230 -265 275
rect -215 230 -205 275
rect -275 205 -205 230
rect -1150 195 -205 205
rect -1150 150 -1130 195
rect -1080 150 -1015 195
rect -965 150 -900 195
rect -850 150 -785 195
rect -735 150 -670 195
rect -620 150 -555 195
rect -505 150 -440 195
rect -390 150 -350 195
rect -300 185 -205 195
rect -300 150 -265 185
rect -1150 140 -265 150
rect -215 140 -205 185
rect -1150 105 -1075 140
rect -1150 60 -1130 105
rect -1080 60 -1075 105
rect -1150 5 -1075 60
rect -1025 105 -950 110
rect -1025 45 -1020 105
rect -955 45 -950 105
rect -1025 40 -950 45
rect -905 105 -830 140
rect -905 60 -900 105
rect -850 60 -830 105
rect -905 5 -830 60
rect -710 105 -635 110
rect -710 45 -705 105
rect -640 45 -635 105
rect -710 40 -635 45
rect -460 95 -385 140
rect -460 50 -440 95
rect -390 50 -385 95
rect -460 5 -385 50
rect -355 105 -305 110
rect -355 50 -350 105
rect -310 50 -305 105
rect -355 45 -305 50
rect -275 95 -205 140
rect -275 50 -265 95
rect -215 50 -205 95
rect -275 5 -205 50
rect -1150 0 -205 5
rect -1150 -45 -1130 0
rect -1080 -45 -1015 0
rect -965 -45 -900 0
rect -850 -45 -785 0
rect -735 -45 -670 0
rect -620 -45 -555 0
rect -505 -45 -440 0
rect -390 -45 -350 0
rect -300 -45 -265 0
rect -215 -45 -205 0
rect -1150 -60 -205 -45
<< via4 >>
rect -1020 720 -955 780
rect -705 720 -640 785
rect -350 725 -310 780
rect -1020 400 -955 460
rect -350 405 -310 460
rect -1020 45 -955 105
rect -705 45 -640 105
rect -350 50 -310 105
<< metal5 >>
rect -1020 790 -955 880
rect -705 790 -640 875
rect -355 795 -305 880
rect -1030 780 -945 790
rect -715 785 -635 790
rect -715 780 -705 785
rect -1125 720 -1020 780
rect -955 720 -705 780
rect -640 780 -635 785
rect -365 780 -295 795
rect -640 725 -350 780
rect -310 725 -210 780
rect -640 720 -210 725
rect -1030 710 -945 720
rect -715 710 -635 720
rect -365 710 -295 720
rect -1020 470 -955 710
rect -705 630 -640 710
rect -355 475 -305 710
rect -1030 460 -945 470
rect -365 460 -295 475
rect -1130 400 -1020 460
rect -955 400 -825 460
rect -365 405 -350 460
rect -310 405 -295 460
rect -1030 390 -945 400
rect -365 390 -295 405
rect -1020 115 -955 390
rect -355 120 -305 390
rect -1030 105 -945 115
rect -715 105 -630 115
rect -365 105 -295 120
rect -1130 45 -1020 105
rect -955 45 -705 105
rect -640 50 -350 105
rect -310 50 -210 105
rect -640 45 -210 50
rect -1030 35 -945 45
rect -715 35 -630 45
rect -365 35 -295 45
rect -1020 -45 -955 35
rect -705 -45 -640 35
rect -355 -50 -305 35
<< comment >>
rect -1165 895 -1150 910
rect -205 890 -190 905
rect -540 510 -525 525
rect -555 495 -540 510
rect -765 330 -750 345
rect -775 310 -765 330
rect -1165 -80 -1150 -65
rect -205 -75 -190 -60
<< labels >>
flabel metal2 -1185 750 -1030 795 0 FreeSans 160 0 0 0 VDD
port 1 nsew
flabel metal2 -305 750 -150 795 0 FreeSans 160 0 0 0 VDD
port 2 nsew
flabel metal2 -1185 30 -150 60 0 FreeSans 160 0 0 0 VSS
port 3 nsew
flabel metal2 -1185 670 -150 705 0 FreeSans 160 0 0 0 sample_n
port 4 nsew
flabel metal2 -1185 495 -1070 525 0 FreeSans 160 0 0 0 rowoff_n
port 5 nsew
flabel metal2 -1185 430 -1065 460 0 FreeSans 160 0 0 0 rowon_n
port 7 nsew
flabel metal2 -1185 370 -1050 400 0 FreeSans 160 0 0 0 row_n
port 9 nsew
flabel metal2 -1185 130 -150 160 0 FreeSans 160 0 0 0 vcom
port 13 nsew
flabel metal1 -670 -80 -655 0 0 FreeSans 160 0 0 0 en_n
port 14 nsew
flabel metal1 -250 -75 -205 -15 0 FreeSans 160 0 0 0 col_n
port 15 nsew
flabel metal1 -250 845 -205 905 0 FreeSans 160 0 0 0 col_n
port 16 nsew
flabel metal2 -1150 845 -1035 910 0 FreeSans 160 0 0 0 col
port 17 nsew
flabel metal2 -1150 -80 -1035 -15 0 FreeSans 160 0 0 0 col
port 18 nsew
flabel metal2 -285 370 -150 400 0 FreeSans 160 0 0 0 row_n
port 10 nsew
flabel metal2 -285 430 -150 460 0 FreeSans 160 0 0 0 rowon_n
port 8 nsew
flabel metal2 -285 495 -150 525 0 FreeSans 160 0 0 0 rowoff_n
port 6 nsew
flabel metal5 -705 820 -640 875 0 FreeSans 160 0 0 0 ctop
port 21 nsew
flabel metal2 -1185 300 -1050 330 0 FreeSans 160 0 0 0 sample
port 20 nsew
flabel metal2 -285 295 -150 325 0 FreeSans 160 0 0 0 sample
port 19 nsew
flabel metal3 -670 895 -670 895 0 FreeSans 80 0 0 0 cbot
port 22 nsew
<< end >>
